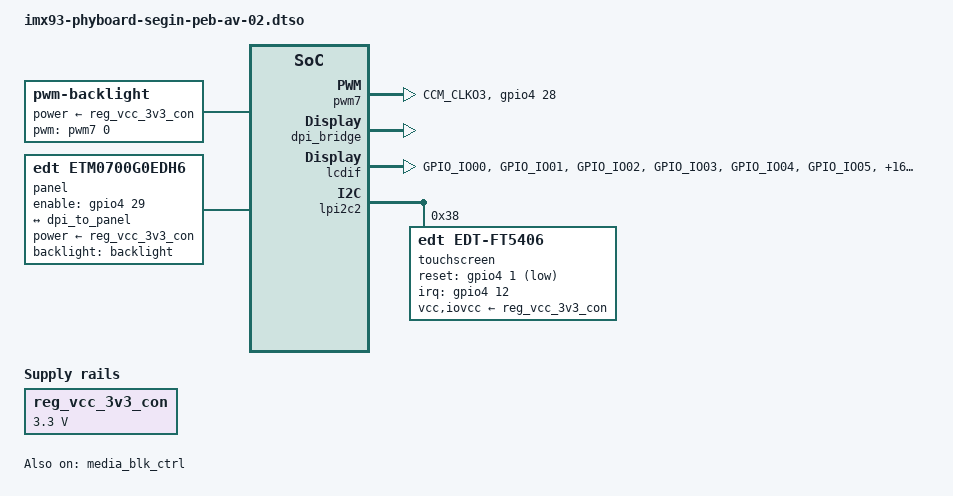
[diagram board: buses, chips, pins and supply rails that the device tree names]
// SPDX-License-Identifier: (GPL-2.0+ OR MIT)
/*
 * Copyright (C) 2025 PHYTEC Messtechnik GmbH
 * Copyright (C) 2025 Pengutronix
 *
 * Author: Andrej Picej <andrej.picej@norik.com>
 * Author: Marco Felsch <kernel@pengutronix.de>
 */

#include <dt-bindings/clock/imx93-clock.h>
#include <dt-bindings/gpio/gpio.h>
#include <dt-bindings/interrupt-controller/arm-gic.h>
#include "imx93-pinfunc.h"

/dts-v1/;
/plugin/;

&{/} {
	backlight: backlight {
		compatible = "pwm-backlight";
		brightness-levels = <0 4 8 16 32 64 128 255>;
		default-brightness-level = <5>;
		power-supply = <&reg_vcc_3v3_con>;
		pwms = <&pwm7 0 5000000 0>;
	};

	panel {
		compatible = "edt,etm0700g0edh6";
		pinctrl-names = "default";
		pinctrl-0 = <&pinctrl_panel>;

		backlight = <&backlight>;
		enable-gpios = <&gpio4 29 GPIO_ACTIVE_HIGH>;
		power-supply = <&reg_vcc_3v3_con>;

		port {
			panel_in: endpoint {
				remote-endpoint = <&dpi_to_panel>;
			};
		};
	};

	/* TODO: Convert to FlexIO PWM once supported */
	pwm7: pwm-7 {
		compatible = "pwm-gpio";
		pinctrl-names = "default";
		pinctrl-0 = <&pinctrl_pwm7>;
		gpios = <&gpio4 28 GPIO_ACTIVE_HIGH>;
		#pwm-cells = <3>;
	};

	reg_vcc_3v3_con: regulator-vcc-3v3-con {
		compatible = "regulator-fixed";
		regulator-name = "VCC3V3_CON";
		regulator-max-microvolt = <3300000>;
		regulator-min-microvolt = <3300000>;
	};
};

&dpi_bridge {
	status = "okay";
};

&dpi_to_panel {
	remote-endpoint = <&panel_in>;
};

&lcdif {
	pinctrl-names = "default";
	pinctrl-0 = <&pinctrl_lcdif>;
	assigned-clocks = <&clk IMX93_CLK_VIDEO_PLL>;
	assigned-clock-rates = <332600000>;
	status = "okay";
};

&lpi2c2 {
	#address-cells = <1>;
	#size-cells = <0>;

	touchscreen@38 {
		compatible = "edt,edt-ft5406";
		reg = <0x38>;
		pinctrl-names = "default";
		pinctrl-0 = <&pinctrl_touchscreen>;
		interrupt-parent = <&gpio4>;
		interrupts = <12 IRQ_TYPE_EDGE_FALLING>;
		reset-gpios = <&gpio4 1 GPIO_ACTIVE_LOW>;
		vcc-supply = <&reg_vcc_3v3_con>;
		iovcc-supply = <&reg_vcc_3v3_con>;
		touchscreen-size-x = <1792>;
		touchscreen-size-y = <1024>;
		wakeup-source;
	};
};

&media_blk_ctrl {
	status = "okay";
};

&iomuxc {
	pinctrl_lcdif: lcdifgrp {
		fsl,pins = <
			MX93_PAD_GPIO_IO00__MEDIAMIX_DISP_CLK		0x50e
			MX93_PAD_GPIO_IO01__MEDIAMIX_DISP_DE		0x50e
			MX93_PAD_GPIO_IO02__MEDIAMIX_DISP_VSYNC		0x50e
			MX93_PAD_GPIO_IO03__MEDIAMIX_DISP_HSYNC		0x50e
			MX93_PAD_GPIO_IO04__MEDIAMIX_DISP_DATA00	0x50e
			MX93_PAD_GPIO_IO05__MEDIAMIX_DISP_DATA01	0x50e
			MX93_PAD_GPIO_IO06__MEDIAMIX_DISP_DATA02	0x50e
			MX93_PAD_GPIO_IO07__MEDIAMIX_DISP_DATA03	0x50e
			MX93_PAD_GPIO_IO08__MEDIAMIX_DISP_DATA04	0x50e
			MX93_PAD_GPIO_IO09__MEDIAMIX_DISP_DATA05	0x51e
			MX93_PAD_GPIO_IO10__MEDIAMIX_DISP_DATA06	0x50e
			MX93_PAD_GPIO_IO11__MEDIAMIX_DISP_DATA07	0x50e
			MX93_PAD_GPIO_IO12__MEDIAMIX_DISP_DATA08	0x50e
			MX93_PAD_GPIO_IO13__MEDIAMIX_DISP_DATA09	0x50e
			MX93_PAD_GPIO_IO14__MEDIAMIX_DISP_DATA10	0x50e
			MX93_PAD_GPIO_IO15__MEDIAMIX_DISP_DATA11	0x50e
			MX93_PAD_GPIO_IO16__MEDIAMIX_DISP_DATA12	0x506
			MX93_PAD_GPIO_IO17__MEDIAMIX_DISP_DATA13	0x506
			MX93_PAD_GPIO_IO18__MEDIAMIX_DISP_DATA14	0x506
			MX93_PAD_GPIO_IO19__MEDIAMIX_DISP_DATA15	0x506
			MX93_PAD_GPIO_IO20__MEDIAMIX_DISP_DATA16	0x506
			MX93_PAD_GPIO_IO21__MEDIAMIX_DISP_DATA17	0x506
		>;
	};

	pinctrl_panel: panelgrp {
		fsl,pins = <
			MX93_PAD_CCM_CLKO4__GPIO4_IO29			0x1133e
		>;
	};

	pinctrl_pwm7: pwm7grp {
		fsl,pins = <
			MX93_PAD_CCM_CLKO3__GPIO4_IO28			0x1133e
		>;
	};

	pinctrl_touchscreen: touchscreengrp {
		fsl,pins = <
			MX93_PAD_ENET1_MDIO__GPIO4_IO01			0x11e
			MX93_PAD_ENET1_RD2__GPIO4_IO12			0x1133e
		>;
	};
};
